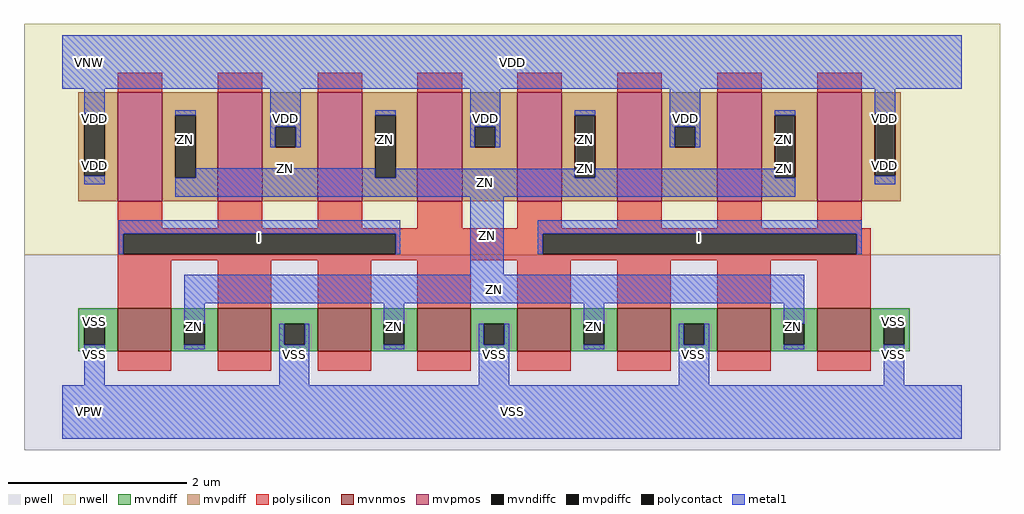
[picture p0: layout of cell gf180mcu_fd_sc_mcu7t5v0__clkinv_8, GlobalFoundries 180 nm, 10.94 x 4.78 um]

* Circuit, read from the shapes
.subckt gf180mcu_fd_sc_mcu7t5v0__clkinv_8 I ZN VDD VNW VPW VSS
XM1 ZN I VSS VPW nfet_06v0 w=0.48u l=0.6u m=8
XM2 ZN I VDD VNW pfet_06v0 w=1.22u l=0.5u m=8
.ends

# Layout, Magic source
magic
tech gf180mcuD
magscale 1 10
<< nwell >>
rect -86 352 2102 870
<< pwell >>
rect -86 -86 2102 352
<< mvnmos >>
rect 124 136 244 232
rect 348 136 468 232
rect 572 136 692 232
rect 796 136 916 232
rect 1020 136 1140 232
rect 1244 136 1364 232
rect 1468 136 1588 232
rect 1692 136 1812 232
<< mvpmos >>
rect 124 472 224 716
rect 348 472 448 716
rect 572 472 672 716
rect 796 472 896 716
rect 1020 472 1120 716
rect 1244 472 1344 716
rect 1468 472 1568 716
rect 1692 472 1792 716
<< mvndiff >>
rect 36 197 124 232
rect 36 151 49 197
rect 95 151 124 197
rect 36 136 124 151
rect 244 197 348 232
rect 244 151 273 197
rect 319 151 348 197
rect 244 136 348 151
rect 468 197 572 232
rect 468 151 497 197
rect 543 151 572 197
rect 468 136 572 151
rect 692 197 796 232
rect 692 151 721 197
rect 767 151 796 197
rect 692 136 796 151
rect 916 197 1020 232
rect 916 151 945 197
rect 991 151 1020 197
rect 916 136 1020 151
rect 1140 197 1244 232
rect 1140 151 1169 197
rect 1215 151 1244 197
rect 1140 136 1244 151
rect 1364 197 1468 232
rect 1364 151 1393 197
rect 1439 151 1468 197
rect 1364 136 1468 151
rect 1588 197 1692 232
rect 1588 151 1617 197
rect 1663 151 1692 197
rect 1588 136 1692 151
rect 1812 197 1900 232
rect 1812 151 1841 197
rect 1887 151 1900 197
rect 1812 136 1900 151
<< mvpdiff >>
rect 36 669 124 716
rect 36 529 49 669
rect 95 529 124 669
rect 36 472 124 529
rect 224 665 348 716
rect 224 525 253 665
rect 299 525 348 665
rect 224 472 348 525
rect 448 639 572 716
rect 448 593 477 639
rect 523 593 572 639
rect 448 472 572 593
rect 672 665 796 716
rect 672 525 701 665
rect 747 525 796 665
rect 672 472 796 525
rect 896 639 1020 716
rect 896 593 925 639
rect 971 593 1020 639
rect 896 472 1020 593
rect 1120 665 1244 716
rect 1120 525 1149 665
rect 1195 525 1244 665
rect 1120 472 1244 525
rect 1344 639 1468 716
rect 1344 593 1373 639
rect 1419 593 1468 639
rect 1344 472 1468 593
rect 1568 665 1692 716
rect 1568 525 1597 665
rect 1643 525 1692 665
rect 1568 472 1692 525
rect 1792 669 1880 716
rect 1792 529 1821 669
rect 1867 529 1880 669
rect 1792 472 1880 529
<< mvndiffc >>
rect 49 151 95 197
rect 273 151 319 197
rect 497 151 543 197
rect 721 151 767 197
rect 945 151 991 197
rect 1169 151 1215 197
rect 1393 151 1439 197
rect 1617 151 1663 197
rect 1841 151 1887 197
<< mvpdiffc >>
rect 49 529 95 669
rect 253 525 299 665
rect 477 593 523 639
rect 701 525 747 665
rect 925 593 971 639
rect 1149 525 1195 665
rect 1373 593 1419 639
rect 1597 525 1643 665
rect 1821 529 1867 669
<< polysilicon >>
rect 124 716 224 760
rect 348 716 448 760
rect 572 716 672 760
rect 796 716 896 760
rect 1020 716 1120 760
rect 1244 716 1344 760
rect 1468 716 1568 760
rect 1692 716 1792 760
rect 124 412 224 472
rect 348 412 448 472
rect 572 412 672 472
rect 796 412 896 472
rect 1020 412 1120 472
rect 1244 412 1344 472
rect 1468 412 1568 472
rect 1692 412 1792 472
rect 124 399 1812 412
rect 124 353 137 399
rect 747 353 1077 399
rect 1781 353 1812 399
rect 124 340 1812 353
rect 124 232 244 340
rect 348 232 468 340
rect 572 232 692 340
rect 796 232 916 340
rect 1020 232 1140 340
rect 1244 232 1364 340
rect 1468 232 1588 340
rect 1692 232 1812 340
rect 124 92 244 136
rect 348 92 468 136
rect 572 92 692 136
rect 796 92 916 136
rect 1020 92 1140 136
rect 1244 92 1364 136
rect 1468 92 1588 136
rect 1692 92 1812 136
<< polycontact >>
rect 137 353 747 399
rect 1077 353 1781 399
<< metal1 >>
rect 0 724 2016 844
rect 49 669 95 724
rect 49 510 95 529
rect 253 665 299 676
rect 466 639 534 724
rect 466 593 477 639
rect 523 593 534 639
rect 701 665 747 676
rect 299 525 701 546
rect 914 639 982 724
rect 914 593 925 639
rect 971 593 982 639
rect 1149 665 1195 676
rect 747 525 1149 545
rect 1362 639 1430 724
rect 1362 593 1373 639
rect 1419 593 1430 639
rect 1597 665 1643 676
rect 1195 525 1597 545
rect 253 482 1643 525
rect 1821 669 1867 724
rect 1821 510 1867 529
rect 126 399 758 430
rect 126 353 137 399
rect 747 353 758 399
rect 914 307 990 482
rect 1066 399 1792 430
rect 1066 353 1077 399
rect 1781 353 1792 399
rect 273 243 1663 307
rect 49 197 95 208
rect 49 60 95 151
rect 273 197 319 243
rect 721 197 767 243
rect 1169 197 1215 243
rect 1617 197 1663 243
rect 273 140 319 151
rect 486 151 497 197
rect 543 151 554 197
rect 486 60 554 151
rect 721 140 767 151
rect 934 151 945 197
rect 991 151 1002 197
rect 934 60 1002 151
rect 1169 140 1215 151
rect 1382 151 1393 197
rect 1439 151 1450 197
rect 1382 60 1450 151
rect 1617 140 1663 151
rect 1841 197 1887 208
rect 1841 60 1887 151
rect 0 -60 2016 60
<< labels >>
flabel metal1 s 0 724 2016 844 0 FreeSans 600 0 0 0 VDD
port 3 nsew power bidirectional abutment
flabel metal1 s 1841 197 1887 208 0 FreeSans 600 0 0 0 VSS
port 6 nsew ground bidirectional abutment
flabel metal1 s 1597 546 1643 676 0 FreeSans 600 0 0 0 ZN
port 2 nsew default output
flabel metal1 s 126 353 758 430 0 FreeSans 600 0 0 0 I
port 1 nsew default input
flabel nwell s 10 734 110 834 0 FreeSans 400 0 0 0 VNW
port 4 nsew power bidirectional
flabel pwell s 10 -50 110 50 0 FreeSans 400 0 0 0 VPW
port 5 nsew ground bidirectional
rlabel metal1 s 1066 353 1792 430 1 I
port 1 nsew default input
rlabel metal1 s 1149 546 1195 676 1 ZN
port 2 nsew default output
rlabel metal1 s 701 546 747 676 1 ZN
port 2 nsew default output
rlabel metal1 s 253 546 299 676 1 ZN
port 2 nsew default output
rlabel metal1 s 1597 545 1643 546 1 ZN
port 2 nsew default output
rlabel metal1 s 1149 545 1195 546 1 ZN
port 2 nsew default output
rlabel metal1 s 253 545 747 546 1 ZN
port 2 nsew default output
rlabel metal1 s 253 482 1643 545 1 ZN
port 2 nsew default output
rlabel metal1 s 914 307 990 482 1 ZN
port 2 nsew default output
rlabel metal1 s 273 243 1663 307 1 ZN
port 2 nsew default output
rlabel metal1 s 1617 140 1663 243 1 ZN
port 2 nsew default output
rlabel metal1 s 1169 140 1215 243 1 ZN
port 2 nsew default output
rlabel metal1 s 721 140 767 243 1 ZN
port 2 nsew default output
rlabel metal1 s 273 140 319 243 1 ZN
port 2 nsew default output
rlabel metal1 s 1821 593 1867 724 1 VDD
port 3 nsew power bidirectional abutment
rlabel metal1 s 1362 593 1430 724 1 VDD
port 3 nsew power bidirectional abutment
rlabel metal1 s 914 593 982 724 1 VDD
port 3 nsew power bidirectional abutment
rlabel metal1 s 466 593 534 724 1 VDD
port 3 nsew power bidirectional abutment
rlabel metal1 s 49 593 95 724 1 VDD
port 3 nsew power bidirectional abutment
rlabel metal1 s 1821 510 1867 593 1 VDD
port 3 nsew power bidirectional abutment
rlabel metal1 s 49 510 95 593 1 VDD
port 3 nsew power bidirectional abutment
rlabel metal1 s 49 197 95 208 1 VSS
port 6 nsew ground bidirectional abutment
rlabel metal1 s 1841 60 1887 197 1 VSS
port 6 nsew ground bidirectional abutment
rlabel metal1 s 1382 60 1450 197 1 VSS
port 6 nsew ground bidirectional abutment
rlabel metal1 s 934 60 1002 197 1 VSS
port 6 nsew ground bidirectional abutment
rlabel metal1 s 486 60 554 197 1 VSS
port 6 nsew ground bidirectional abutment
rlabel metal1 s 49 60 95 197 1 VSS
port 6 nsew ground bidirectional abutment
rlabel metal1 s 0 -60 2016 60 1 VSS
port 6 nsew ground bidirectional abutment
<< properties >>
string FIXED_BBOX 0 0 2016 784
string GDS_END 831608
string GDS_FILE $PDKPATH/libs.ref/gf180mcu_fd_sc_mcu7t5v0/gds/gf180mcu_fd_sc_mcu7t5v0.gds
string GDS_START 826404
string LEFclass core
string LEFsite GF018hv5v_mcu_sc7
string LEFsymmetry X Y
<< end >>
